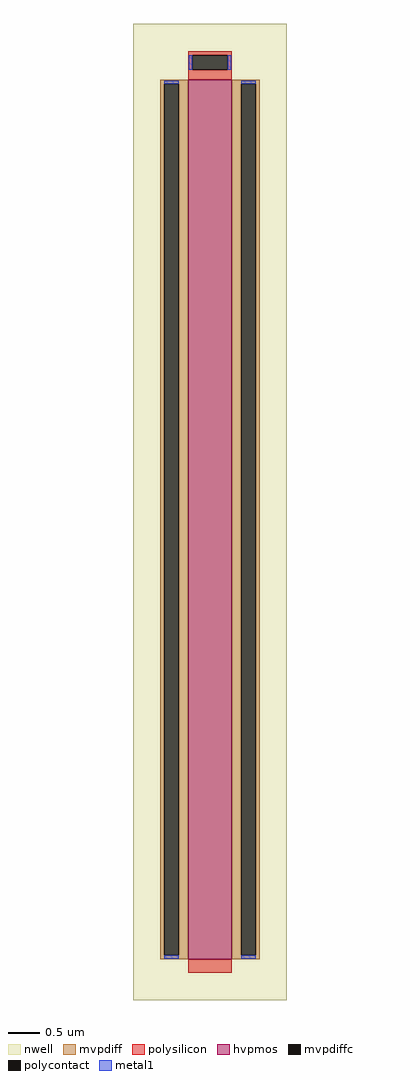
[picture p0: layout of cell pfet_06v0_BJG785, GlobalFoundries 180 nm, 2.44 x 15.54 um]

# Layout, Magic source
magic
tech gf180mcuD
magscale 1 10
<< nwell >>
rect -244 -1554 244 1554
<< hvpmos >>
rect -70 -1424 70 1376
<< mvpdiff >>
rect -158 1363 -70 1376
rect -158 -1411 -145 1363
rect -99 -1411 -70 1363
rect -158 -1424 -70 -1411
rect 70 1363 158 1376
rect 70 -1411 99 1363
rect 145 -1411 158 1363
rect 70 -1424 158 -1411
<< mvpdiffc >>
rect -145 -1411 -99 1363
rect 99 -1411 145 1363
<< polysilicon >>
rect -70 1455 70 1468
rect -70 1409 -57 1455
rect 57 1409 70 1455
rect -70 1376 70 1409
rect -70 -1468 70 -1424
<< polycontact >>
rect -57 1409 57 1455
<< metal1 >>
rect -68 1409 -57 1455
rect 57 1409 68 1455
rect -145 1363 -99 1374
rect -145 -1422 -99 -1411
rect 99 1363 145 1374
rect 99 -1422 145 -1411
<< properties >>
string gencell pfet_06v0
string library gf180mcu
string parameters w 14 l 0.7 m 1 nf 1 diffcov 100 polycov 100 guard 0 glc 0 grc 0 gtc 0 gbc 0 tbcov 100 rlcov 100 topc 1 botc 0 poverlap 0 doverlap 1 lmin 0.55 wmin 0.3 class mosfet full_metal 0 compatible {pfet_03v3 pfet_05v0 pfet_06v0}
<< end >>
